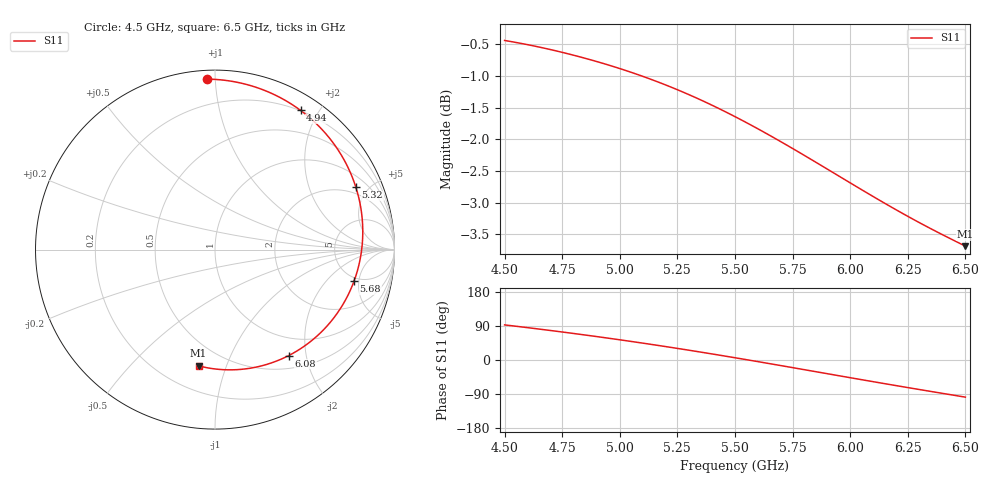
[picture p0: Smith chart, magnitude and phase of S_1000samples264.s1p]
! TOUCHSTONE file generated by CST MICROWAVE STUDIO
! Date and time: Thu Oct 27 13:50:10 2022
! Project name: L.cst
! Parameters = {Di=1.27; Epsilon_r=1.56; InnerDiameter=1.27; Length=2; Lf=10; Lg=60; OuterConductorThickness=0.2921; OuterDiameter=3.6; Wf=3; Wp=41.2; de=1.5; df=6.8; g=0.8; gx=1.89034; gy=3.95442; h=2.34; hf=1.524; px=9.6128; py=12.5117; w=9.7; wx=7.72246; wy=8.55726}
! Header version: 2018
! Port assignment regex: !\s*Touchstone port\s*([0-9]+)\s*=\s*(CST MWS port|CST DS port)\s*([0-9]+|Zmin|Zmax)\s*\(\"(.*)\"\)(\s*mode\s*([0-9]+))?.*
! Touchstone port assignment:
! Touchstone port 1 = CST MWS port 1 ("")
# GHz S DB R 50
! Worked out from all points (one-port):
!   101 points, 4.5 GHz to 6.5 GHz, reference 50 ohm
!   lowest |S11| = -3.7 dB at 6.5 GHz (marker M1), VSWR 4.78, Z = 17.8 - j40.2 ohm
!   |S11| at or under -10 dB: nowhere
!   S11 on the Smith chart (normalised r, x): 4.5 GHz: 0.05, +0.95; 4.94 GHz: 0.20, +1.77; 5.32 GHz: 1.58, +4.16; 5.68 GHz: 4.54, -4.31; 6.08 GHz: 0.69, -1.70; 6.5 GHz: 0.36, -0.80
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4.5  -0.44 92.6
4.58  -0.49 86.8
4.64  -0.54 82.4
4.76  -0.64 73.1
4.86  -0.73 65.1
4.94  -0.81 58.4
5  -0.88 53.3
5.06  -0.96 48.0
5.14  -1.06 40.8
5.2  -1.14 35.3
5.26  -1.23 29.7
5.32  -1.33 23.9
5.42  -1.50 14.0
5.5  -1.64 5.9
5.58  -1.80 -2.3
5.68  -2.00 -12.7
5.76  -2.17 -21.2
5.82  -2.30 -27.6
5.88  -2.43 -33.9
5.94  -2.56 -40.3
6  -2.69 -46.7
6.08  -2.86 -55.1
6.16  -3.03 -63.5
6.26  -3.24 -73.8
6.32  -3.36 -79.9
6.38  -3.47 -86.0
6.44  -3.58 -92.0
6.5  -3.69 -98.0
